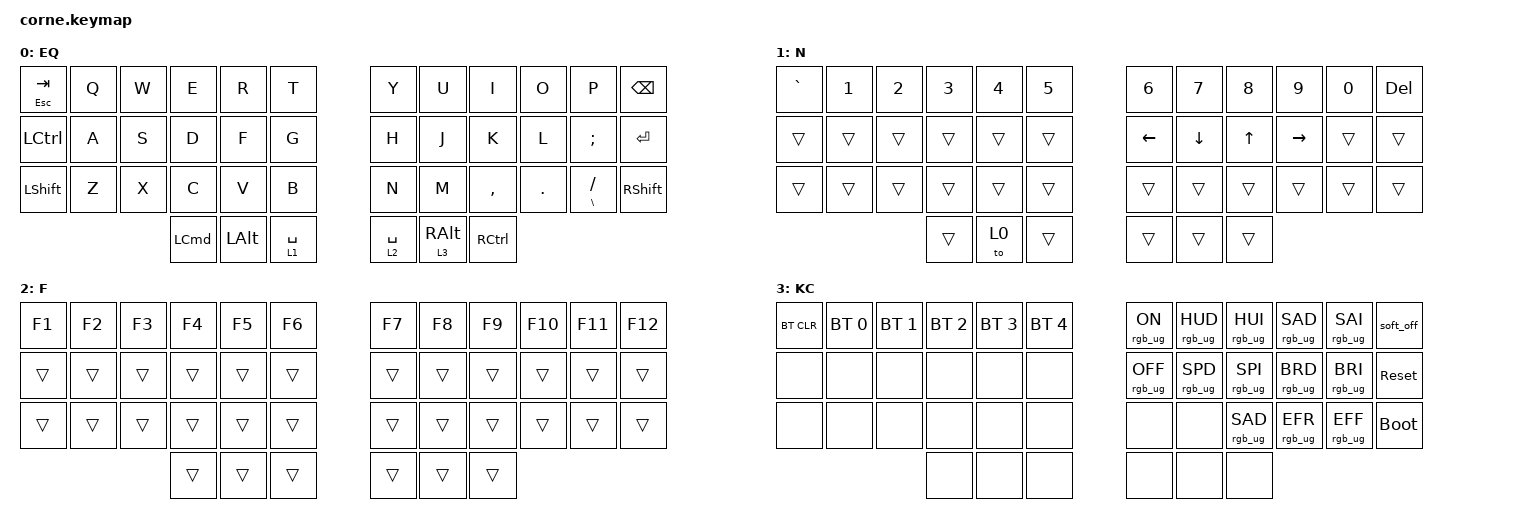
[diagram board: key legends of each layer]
#include <behaviors.dtsi>
#include <dt-bindings/zmk/bt.h>
#include <dt-bindings/zmk/keys.h>
#include <dt-bindings/zmk/rgb.h>

// Layer Definitions

#define COLEMAK 0
#define QWERTY 1
#define GAMING_COLEMAK 2
#define GAMING_QWERTY 3
#define LAYERS 4
#define NAV 5
#define MOUSE 6
#define MEDIA 7
#define NUM 8
#define SYM 9
#define FN 10

// Behavior configuration

&mt {
    tapping-term-ms = <200>;
    quick_tap_ms = <0>;
    flavor = "tap-preferred";
};

&lt {
    tapping-term-ms = <200>;
    quick_tap_ms = <0>;
    flavor = "tap-preferred";
};

&sk {
    release-after-ms = <500>;
    quick-release;
};

// Keymap configuration (Colemak-DHm)

/ {
    combos {
        compatible = "zmk,combos";

        KoreanB {
            bindings = <&kp B>;
            key-positions = <30 31>;
        };
    };

    keymap {
        compatible = "zmk,keymap";

        EnglishQwerty {
            // -----------------------------------------------------------------------------------------------------------------------------
            // |        |   Q    |   W    |     F     |     P     |     B     | # |     J     |    L     |    U    |    Y   |   '    |     |
            // | LAYERS | A/LGUI | R/LALT |  S/LCTRL  |  T/LSHFT  |     G     | # |     M     | N/LSHFT  | E/LCTRL | I/LALT | O/LGUI |     |
            // |        |   Z    | X/RALT |     C     |     D     |     V     | # |     K     |    H     |    ,    | ./RALT |   /    |     |
            //                            | ESC/MEDIA | SPACE/NAV | TAB/MOUSE | # | ENTER/SYM | BSPC/NUM | DEL/FN  |

            bindings = <
&mt ESC TAB     &kp Q  &kp W  &kp E             &kp R         &kp T          &kp Y        &kp U            &kp I              &kp O    &kp P                &kp BACKSPACE
&kp LCTRL       &kp A  &kp S  &kp D             &kp F         &kp G          &kp H        &kp J            &kp K              &kp L    &kp SEMICOLON        &kp ENTER
&kp LEFT_SHIFT  &kp Z  &kp X  &kp C             &kp V         &kp B          &kp N        &kp M            &kp COMMA          &kp DOT  &mt BACKSLASH SLASH  &kp RIGHT_SHIFT
                              &kp LEFT_COMMAND  &kp LEFT_ALT  &lt 1 SPACE    &lt 2 SPACE  &lt 3 RIGHT_ALT  &kp RIGHT_CONTROL
            >;

            label = "EQ";
        };

        Number {
            // ------------------------------------------------------------------------------------
            // |     |      |      |       |       |      | # |     |     |     |     |     |     |
            // |     | LGUI | LALT | LCTRL | LSHFT |      | # |     |     |     |     |     |     |
            // |     |      | RALT |       |       |      | # |     |     |     |     |     |     |
            //                     |       |       | HELD | # |     |     |     |

            bindings = <
&kp GRAVE  &kp N1  &kp N2  &kp N3  &kp N4  &kp N5    &kp N6    &kp N7    &kp N8  &kp N9     &kp N0  &kp DEL
&trans     &trans  &trans  &trans  &trans  &trans    &kp LEFT  &kp DOWN  &kp UP  &kp RIGHT  &trans  &trans
&trans     &trans  &trans  &trans  &trans  &trans    &trans    &trans    &trans  &trans     &trans  &trans
                           &trans  &to 0   &trans    &trans    &trans    &trans
            >;

            label = "N";
        };

        Function {
            bindings = <
&kp F1  &kp F2  &kp F3  &kp F4  &kp F5  &kp F6    &kp F7  &kp F8  &kp F9  &kp F10  &kp F11  &kp F12
&trans  &trans  &trans  &trans  &trans  &trans    &trans  &trans  &trans  &trans   &trans   &trans
&trans  &trans  &trans  &trans  &trans  &trans    &trans  &trans  &trans  &trans   &trans   &trans
                        &trans  &trans  &trans    &trans  &trans  &trans
            >;

            label = "F";
        };

        KeyboardConfig {
            bindings = <
&bt BT_CLR  &bt BT_SEL 0  &bt BT_SEL 1  &bt BT_SEL 2  &bt BT_SEL 3  &bt BT_SEL 4    &rgb_ug RGB_ON   &rgb_ug RGB_HUD  &rgb_ug RGB_HUI  &rgb_ug RGB_SAD  &rgb_ug RGB_SAI  &soft_off
&none       &none         &none         &none         &none         &none           &rgb_ug RGB_OFF  &rgb_ug RGB_SPD  &rgb_ug RGB_SPI  &rgb_ug RGB_BRD  &rgb_ug RGB_BRI  &sys_reset
&none       &none         &none         &none         &none         &none           &none            &none            &rgb_ug RGB_SAD  &rgb_ug RGB_EFR  &rgb_ug RGB_EFF  &bootloader
                                        &none         &none         &none           &none            &none            &none
            >;

            label = "KC";
        };
    };
};
